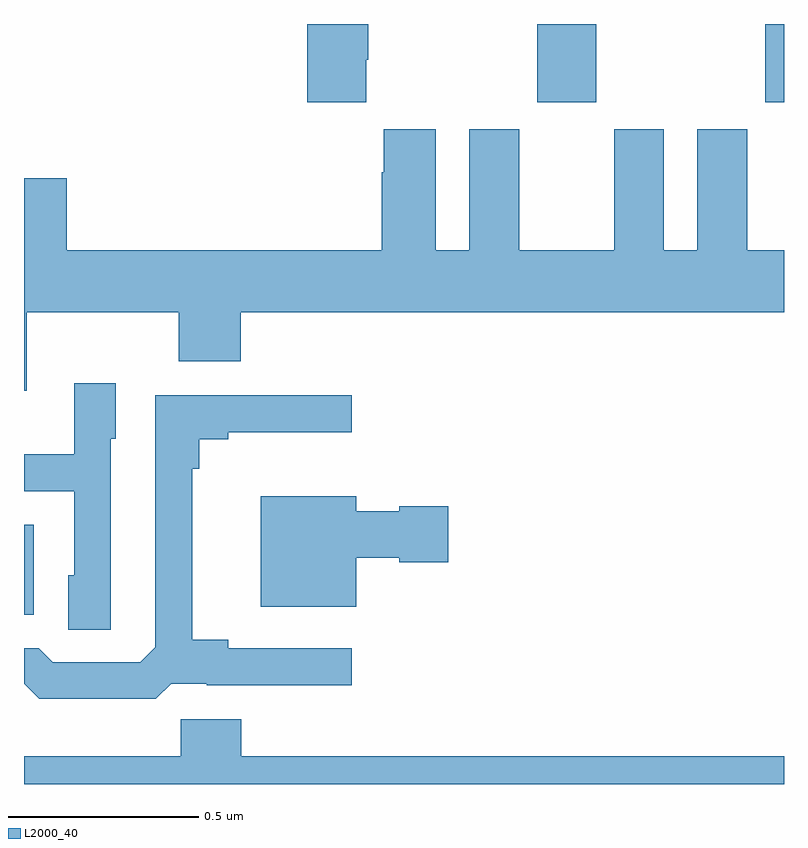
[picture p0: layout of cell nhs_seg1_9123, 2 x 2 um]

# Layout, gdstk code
import gdstk
lib = gdstk.Library(unit=1e-6, precision=1e-09)
def R(c, l, rs):  # rectangles x0, y0, x1, y1
    for r in rs: c.add(gdstk.rectangle(r[:2], r[2:], *l))
def P(c, l, *ps):  # polygons
    for p in ps: c.add(gdstk.Polygon(p, *l))
L2000_40 = (2000, 40)

nhs_seg1_9123 = lib.new_cell('nhs_seg1_9123')
R(nhs_seg1_9123, L2000_40, [(225,509.645,225.025,509.881), (226.351,510.993,226.506,511.199), (226.951,510.993,227,511.199)])
P(nhs_seg1_9123, L2000_40, [(225.901,511.105),(225.906,511.105),(225.906,511.199),(225.746,511.199),(225.746,510.993),(225.901,510.993)],
  [(225.007,510.44),(225.407,510.44),(225.407,510.312),(225.571,510.312),(225.571,510.44),(227,510.44),(227,510.604),(226.903,510.604),(226.903,510.922),(226.772,510.922),(226.772,510.604),(226.684,510.604),(226.684,510.922),(226.553,510.922),(226.553,510.604),(226.303,510.604),(226.303,510.922),(226.172,510.922),(226.172,510.604),(226.084,510.604),(226.084,510.922),(225.947,510.922),(225.947,510.809),(225.941,510.809),(225.941,510.604),(225.112,510.604),(225.112,510.793),(225,510.793),(225,510.234),(225.007,510.234)],
  [(225.228,510.108),(225.241,510.108),(225.241,510.253),(225.132,510.253),(225.132,510.067),(225,510.067),(225,509.97),(225.132,509.97),(225.132,509.748),(225.116,509.748),(225.116,509.605),(225.228,509.605)],
  [(225.387,509.463),(225.481,509.463),(225.481,509.459),(225.862,509.459),(225.862,509.556),(225.538,509.556),(225.538,509.579),(225.443,509.579),(225.443,510.029),(225.461,510.029),(225.461,510.106),(225.538,510.106),(225.538,510.125),(225.862,510.125),(225.862,510.222),(225.345,510.222),(225.345,509.559),(225.306,509.52),(225.075,509.52),(225.039,509.556),(225,509.556),(225,509.463),(225.04,509.424),(225.347,509.424)],
  [(225.874,509.795),(225.987,509.795),(225.987,509.783),(226.117,509.783),(226.117,509.93),(225.987,509.93),(225.987,509.917),(225.874,509.917),(225.874,509.956),(225.623,509.956),(225.623,509.666),(225.874,509.666)],
  [(227,509.272),(225.572,509.272),(225.572,509.37),(225.412,509.37),(225.412,509.272),(225,509.272),(225,509.199),(227,509.199)])

lib.write_gds('nhs_seg1_9123.gds')
